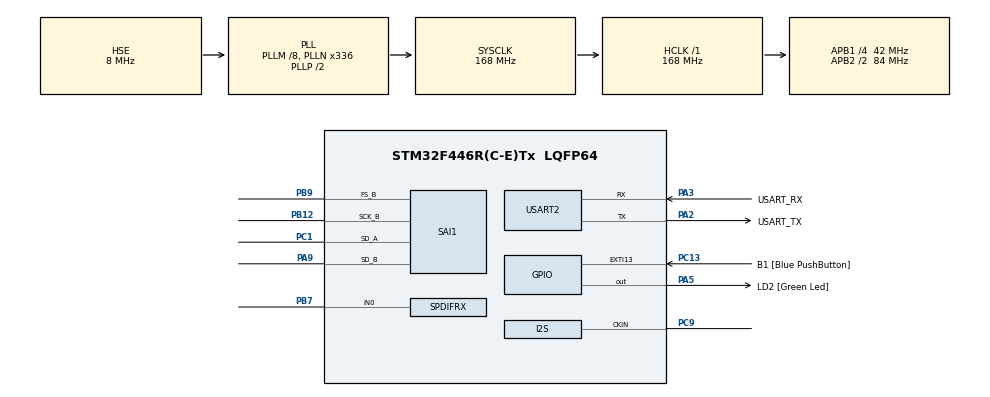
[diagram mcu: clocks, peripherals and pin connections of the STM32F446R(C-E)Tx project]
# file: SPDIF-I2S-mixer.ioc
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Dma.Request0=SPDIF_RX_DT
Dma.Request1=SAI1_B
Dma.Request2=SAI1_A
Dma.SAI1_A.2.Direction=DMA_MEMORY_TO_PERIPH
Dma.SAI1_A.2.FIFOMode=DMA_FIFOMODE_ENABLE
Dma.SAI1_A.2.FIFOThreshold=DMA_FIFO_THRESHOLD_HALFFULL
Dma.SAI1_A.2.Instance=DMA2_Stream1
Dma.SAI1_A.2.MemBurst=DMA_MBURST_SINGLE
Dma.SAI1_A.2.MemDataAlignment=DMA_MDATAALIGN_WORD
Dma.SAI1_A.2.MemInc=DMA_MINC_ENABLE
Dma.SAI1_A.2.Mode=DMA_CIRCULAR
Dma.SAI1_A.2.PeriphBurst=DMA_PBURST_SINGLE
Dma.SAI1_A.2.PeriphDataAlignment=DMA_PDATAALIGN_WORD
Dma.SAI1_A.2.PeriphInc=DMA_PINC_DISABLE
Dma.SAI1_A.2.Priority=DMA_PRIORITY_HIGH
Dma.SAI1_B.1.Direction=DMA_PERIPH_TO_MEMORY
Dma.SAI1_B.1.FIFOMode=DMA_FIFOMODE_DISABLE
Dma.SAI1_B.1.Instance=DMA2_Stream4
Dma.SAI1_B.1.MemDataAlignment=DMA_MDATAALIGN_WORD
Dma.SAI1_B.1.MemInc=DMA_MINC_ENABLE
Dma.SAI1_B.1.Mode=DMA_CIRCULAR
Dma.SAI1_B.1.PeriphDataAlignment=DMA_PDATAALIGN_WORD
Dma.SAI1_B.1.PeriphInc=DMA_PINC_DISABLE
Dma.SAI1_B.1.Priority=DMA_PRIORITY_LOW
Dma.SPDIF_RX_DT.0.Direction=DMA_PERIPH_TO_MEMORY
Dma.SPDIF_RX_DT.0.FIFOMode=DMA_FIFOMODE_DISABLE
Dma.SPDIF_RX_DT.0.Instance=DMA1_Stream1
Dma.SPDIF_RX_DT.0.MemDataAlignment=DMA_MDATAALIGN_WORD
Dma.SPDIF_RX_DT.0.MemInc=DMA_MINC_ENABLE
Dma.SPDIF_RX_DT.0.Mode=DMA_CIRCULAR
Dma.SPDIF_RX_DT.0.PeriphDataAlignment=DMA_PDATAALIGN_WORD
Dma.SPDIF_RX_DT.0.PeriphInc=DMA_PINC_DISABLE
Dma.SPDIF_RX_DT.0.Priority=DMA_PRIORITY_MEDIUM
Mcu.Family=STM32F4
Mcu.Name=STM32F446R(C-E)Tx
Mcu.Package=LQFP64
NVIC.DMA1_Stream1_IRQn=true\:0\:0\:false\:false\:true\:false\:true
NVIC.DMA2_Stream1_IRQn=true\:0\:0\:false\:false\:true\:false\:true
NVIC.DMA2_Stream4_IRQn=true\:0\:0\:false\:false\:true\:false\:true
NVIC.PriorityGroup=NVIC_PRIORITYGROUP_0
NVIC.SAI1_IRQn=true\:0\:0\:false\:false\:true\:true\:true
NVIC.SPDIF_RX_IRQn=true\:0\:0\:false\:false\:true\:true\:true
NVIC.TIM6_DAC_IRQn=true\:0\:0\:false\:false\:true\:true\:true
PA13.GPIO_Label=TMS
PA13.Mode=Serial_Wire
PA13.Signal=SYS_JTMS-SWDIO
PA14.GPIO_Label=TCK
PA14.Mode=Serial_Wire
PA14.Signal=SYS_JTCK-SWCLK
PA2.GPIO_Label=USART_TX
PA2.Mode=Asynchronous
PA2.Signal=USART2_TX
PA3.GPIO_Label=USART_RX
PA3.Mode=Asynchronous
PA3.Signal=USART2_RX
PA5.GPIO_Label=LD2 [Green Led]
PA5.Signal=GPIO_Output
PA9.Mode=SAI_B_AsyncSlave
PA9.Signal=SAI1_SD_B
PB12.Mode=SAI_B_AsyncSlave
PB12.Signal=SAI1_SCK_B
PB3.GPIO_Label=SWO
PB3.Signal=SYS_JTDO-SWO
PB7.Mode=IN0
PB7.Signal=SPDIFRX_IN0
PB9.Mode=SAI_B_AsyncSlave
PB9.Signal=SAI1_FS_B
PC1.Mode=SAI_A_SPDIF
PC1.Signal=SAI1_SD_A
PC13.GPIO_Label=B1 [Blue PushButton]
PC13.GPIO_ModeDefaultEXTI=GPIO_MODE_IT_FALLING
PC13.Signal=GPXTI13
PC14-OSC32_IN.Mode=LSE-External-Oscillator
PC14-OSC32_IN.Signal=RCC_OSC32_IN
PC15-OSC32_OUT.Mode=LSE-External-Oscillator
PC15-OSC32_OUT.Signal=RCC_OSC32_OUT
PC9.Mode=Audio_ClockIn
PC9.Signal=I2S_CKIN
PH0-OSC_IN.Mode=HSE-External-Oscillator
PH0-OSC_IN.Signal=RCC_OSC_IN
PH1-OSC_OUT.Mode=HSE-External-Oscillator
PH1-OSC_OUT.Signal=RCC_OSC_OUT
ProjectManager.HeapSize=0x200
ProjectManager.StackSize=0x400
ProjectManager.TargetToolchain=STM32CubeIDE
RCC.48MHZClocksFreq_Value=84000000
RCC.AHBFreq_Value=168000000
RCC.APB1CLKDivider=RCC_HCLK_DIV4
RCC.APB1Freq_Value=42000000
RCC.APB1TimFreq_Value=84000000
RCC.APB2CLKDivider=RCC_HCLK_DIV2
RCC.APB2Freq_Value=84000000
RCC.APB2TimFreq_Value=168000000
RCC.CortexFreq_Value=168000000
RCC.EXTERNAL_CLOCK_VALUE=12288000
RCC.FLatency-AdvancedSettings=FLASH_LATENCY_5
RCC.HCLKFreq_Value=168000000
RCC.HSE_VALUE=8000000
RCC.HSI_VALUE=16000000
RCC.PLLI2SM=8
RCC.PLLM=8
RCC.PLLN=336
RCC.PLLSAIM=5
RCC.PLLSAIN=96
RCC.PLLSAIQ=5
RCC.PLLSAIQDiv=5
RCC.PLLSourceVirtual=RCC_PLLSOURCE_HSE
RCC.SYSCLKFreq_VALUE=168000000
RCC.SYSCLKSource=RCC_SYSCLKSOURCE_PLLCLK
RCC.USBFreq_Value=168000000
RCC.VCOOutputFreq_Value=336000000
SAI1.AudioFrequency-SAI_A_SPDIF=SAI_AUDIO_FREQUENCY_96K
SAI1.BasicDataSize-SAI_B_AsyncSlave=SAI_PROTOCOL_DATASIZE_32BIT
SAI1.BasicProtocol-SAI_B_AsyncSlave=SAI_I2S_STANDARD
SAI1.FIFOThreshold-SAI_A_SPDIF=SAI_FIFOTHRESHOLD_FULL
SAI1.InitProtocol-SAI_B_AsyncSlave=Enable
SAI1.Instance-SAI_A_SPDIF=SAI$Index_Block_A
SAI1.Instance-SAI_B_AsyncSlave=SAI$Index_Block_B
SAI1.RealAudioFreq-SAI_A_SPDIF=383.928 KHz
SAI1.VirtualMode-SAI_A_SPDIF=VM_SPDIF
SAI1.VirtualMode-SAI_B_AsyncSlave=VM_SLAVE
SAI1.VirtualProtocol-SAI_B_BASIC=VM_BASIC_PROTOCOL
SPDIFRX.DataFormat=SPDIFRX_DATAFORMAT_LSB
SPDIFRX.Retries=SPDIFRX_MAXRETRIES_NONE
SPDIFRX.StereoMode=SPDIFRX_STEREOMODE_ENABLE
SPDIFRX.WaitForActivity=SPDIFRX_WAITFORACTIVITY_ON
TIM6.Period=5000-1
TIM6.Prescaler=8400-1
USART2.VirtualMode=VM_ASYNC
VP_SAI1_VP_$IpInstance_SAIB_SAI_BASIC.Mode=SAI_B_BASIC
VP_TIM6_VS_ClockSourceINT.Mode=Enable_Timer
board=NUCLEO-F446RE

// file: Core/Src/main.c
/* USER CODE BEGIN Header */
/**
  ******************************************************************************
  * @file           : main.c
  * @brief          : Main program body
  ******************************************************************************
  * @attention
  *
  * Copyright (c) 2020 STMicroelectronics.
  * Copyright (c) 2020 fzawa5 (https://twitter.com/fzawa5).
  * All rights reserved.
  *
  * This software component is licensed by ST and fzawa5 under BSD 3-Clause license,
  * the "License"; You may not use this file except in compliance with the
  * License. You may obtain a copy of the License at:
  *                        opensource.org/licenses/BSD-3-Clause
  *
  ******************************************************************************
  */
/* USER CODE END Header */
#include "main.h"

/* USER CODE BEGIN Includes */
#include <stdio.h>
#include <string.h>
#include <stdbool.h>
#include <limits.h>
/* USER CODE END Includes */

/* USER CODE BEGIN PD */

// amount of SPDIF sub-frame per block
#define SPDIF_SUBFRAMES_PER_BLOCK  (192 * 2)

// sub-frame transfer unit (multiple of SPDIF_SUBFRAMES_PER_BLOCK)
#define TRANSFER_UNIT  SPDIF_SUBFRAMES_PER_BLOCK

// debug macros
#ifdef DEBUG
#define debug_printf(fmt, ...)  printf((fmt), ## __VA_ARGS__)
#define debug_puts(str)      puts(str)
#else /* DEBUG */
#define debug_printf(fmt, ...)
#define debug_puts(str)
#endif /* DEBUG */

/* USER CODE END PD */

SAI_HandleTypeDef hsai_BlockA1;
SAI_HandleTypeDef hsai_BlockB1;
DMA_HandleTypeDef hdma_sai1_b;
DMA_HandleTypeDef hdma_sai1_a;

SPDIFRX_HandleTypeDef hspdif;
DMA_HandleTypeDef hdma_spdif_rx_dt;

TIM_HandleTypeDef htim6;

UART_HandleTypeDef huart2;

/* USER CODE BEGIN PV */

// SPDIF & I2S RX context
struct {
  uint32_t buf[2][TRANSFER_UNIT];
  const uint32_t *readable_buf;
  size_t seq_num;
  bool active;
} spdif_rx = { {{0}}, NULL, 0, false }, i2s_rx = { {{0}}, NULL, 0, false };

// SPDIF TX context
struct {
  uint32_t buf[2][TRANSFER_UNIT];
  uint32_t *writable_buf;
  size_t seq_num;
} spdif_tx = { {{0}}, NULL, 0 };

/* USER CODE END PV */

void SystemClock_Config(void);
static void MX_GPIO_Init(void);
static void MX_DMA_Init(void);
static void MX_USART2_UART_Init(void);
static void MX_SAI1_Init(void);
static void MX_SPDIFRX_Init(void);
static void MX_TIM6_Init(void);

/* USER CODE BEGIN 0 */

/*
 * SPDIF RX: DMA half completed
 */
void HAL_SPDIFRX_RxHalfCpltCallback(SPDIFRX_HandleTypeDef *ctx)
{
  // buf[0] is ready for read
  spdif_rx.readable_buf = spdif_rx.buf[0];
  spdif_rx.seq_num++;
}

/*
 * SPDIF RX: DMA full completed
 */
void HAL_SPDIFRX_RxCpltCallback(SPDIFRX_HandleTypeDef *ctx)
{
  // buf[1] is ready for read
  spdif_rx.readable_buf = spdif_rx.buf[1];
  spdif_rx.seq_num++;
}

#ifdef DEBUG
void HAL_SPDIFRX_ErrorCallback(SPDIFRX_HandleTypeDef *ctx)
{
  printf("SPDIF RX: error occurred (%lu)\r\n", HAL_SPDIFRX_GetError(ctx));
}
#endif /* DEBUG */

/*
 * I2S RX: DMA half completed
 */
void HAL_SAI_RxHalfCpltCallback(SAI_HandleTypeDef *ctx)
{
  // buf[0] is ready for read
  i2s_rx.readable_buf = i2s_rx.buf[0];
  i2s_rx.seq_num++;
}

/*
 * I2S RX: DMA full completed
 */
void HAL_SAI_RxCpltCallback(SAI_HandleTypeDef *ctx)
{
  // buf[1] is ready for read
  i2s_rx.readable_buf = i2s_rx.buf[1];
  i2s_rx.seq_num++;
}

/*
 * SPDIF TX: DMA half completed
 */
void HAL_SAI_TxHalfCpltCallback(SAI_HandleTypeDef *ctx)
{
  // buf[0] is ready for write
  spdif_tx.writable_buf = spdif_tx.buf[0];
  spdif_tx.seq_num++;
}

/*
 * SPDIF TX: DMA full completed
 */
void HAL_SAI_TxCpltCallback(SAI_HandleTypeDef *ctx)
{
  // buf[1] is ready for write
  spdif_tx.writable_buf = spdif_tx.buf[1];
  spdif_tx.seq_num++;
}

#ifdef DEBUG
void HAL_SAI_ErrorCallback(SAI_HandleTypeDef *ctx)
{
  if (ctx == &hsai_BlockA1) {
    printf("SPDIF TX: error occurred (%lu)\r\n", HAL_SAI_GetError(ctx));
  } else {
    printf("I2S RX: error occurred (%lu)\r\n", HAL_SAI_GetError(ctx));
  }
}
#endif /* DEBUG */

/*
 * check SPDIF & I2S RX activity periodically
 */
void HAL_TIM_PeriodElapsedCallback(TIM_HandleTypeDef *htim)
{
  static size_t spdif_rx_prev_seq_num = 0, i2s_rx_prev_seq_num = 0;
  size_t __spdif_rx_seq_num, __i2s_rx_seq_num;

  // check SPDIF RX activity
  if (spdif_rx.active) {
    __spdif_rx_seq_num = spdif_rx.seq_num;
    if (__spdif_rx_seq_num == spdif_rx_prev_seq_num) {
      __HAL_SPDIFRX_CLEAR_IT(&hspdif, SPDIFRX_SR_SYNCD);
      spdif_rx.active = false;
    } else {
      spdif_rx_prev_seq_num = __spdif_rx_seq_num;
    }
  } else {
    if (__HAL_SPDIFRX_GET_FLAG(&hspdif, SPDIFRX_FLAG_SYNCD)) {
      spdif_rx.active = true;
    }
  }

  // check I2S RX activity
  __i2s_rx_seq_num = i2s_rx.seq_num;
  if (__i2s_rx_seq_num == i2s_rx_prev_seq_num) {
    i2s_rx.active = false;
  } else {
    i2s_rx_prev_seq_num = __i2s_rx_seq_num;
    i2s_rx.active = true;
  }
}
/* USER CODE END 0 */

int main(void)
{
  /* USER CODE BEGIN 1 */
  bool spdif_rx_prev_active = false, i2s_rx_prev_active = false;
  size_t spdif_tx_prev_seq_num = 0, spdif_rx_prev_seq_num = 0, i2s_rx_prev_seq_num = 0;
  size_t i;
  /* USER CODE END 1 */

  /* MCU Configuration--------------------------------------------------------*/

  /* Reset of all peripherals, Initializes the Flash interface and the Systick. */
  HAL_Init();

  /* Configure the system clock */
  SystemClock_Config();

  /* Initialize all configured peripherals */
  MX_GPIO_Init();
  MX_DMA_Init();
  MX_USART2_UART_Init();
  MX_SAI1_Init();
  MX_SPDIFRX_Init();
  MX_TIM6_Init();
  /* USER CODE BEGIN 2 */

  puts("\r\nSPDIF & I2S Mixer Launched\r");
  debug_puts("debug mode enabled\r");

  // SPDIF RX: begin synchronization
  __HAL_SPDIFRX_SYNC(&hspdif);

  // I2S RX: begin DMA
  HAL_SAI_Receive_DMA(&hsai_BlockB1, (uint8_t *) i2s_rx.buf, sizeof(i2s_rx.buf) / sizeof(i2s_rx.buf[0][0]));
  debug_puts("I2S RX: DMA started\r");

  // SPDIF TX: begin DMA
  HAL_SAI_Transmit_DMA(&hsai_BlockA1, (uint8_t *) spdif_tx.buf, sizeof(spdif_tx.buf) / sizeof(spdif_tx.buf[0][0]));
  debug_puts("SPDIF TX: DMA started\r");

  // enable interval timer (HAL_TIM_PeriodElapsedCallback() will be called periodically)
  HAL_TIM_Base_Start_IT(&htim6);

  /* USER CODE END 2 */

  /* Infinite loop */
  /* USER CODE BEGIN WHILE */
  while (1)
  {
    volatile bool __spdif_rx_active, __i2s_rx_active;
    volatile size_t __spdif_tx_seq_num;

    // SPDIF RX: begin DMA when sync is done / begin sync when signal is lost
    __spdif_rx_active = spdif_rx.active;
    if (__spdif_rx_active != spdif_rx_prev_active) {
      if (__spdif_rx_active) {
        debug_puts("SPDIF RX: sync done\r");
        HAL_SPDIFRX_ReceiveDataFlow_DMA(&hspdif, spdif_rx.buf[0], sizeof(spdif_rx.buf) / sizeof(spdif_rx.buf[0][0]));
        debug_puts("SPDIF RX: DMA started\r");
      } else {
        debug_puts("SPDIF RX: signal lost\r");
        HAL_DMA_Abort_IT(hspdif.hdmaDrRx);
        __HAL_SPDIFRX_IDLE(&hspdif);
        hspdif.State = HAL_SPDIFRX_STATE_READY;
        __HAL_SPDIFRX_SYNC(&hspdif);
        debug_puts("SPDIF RX: syncing\r");
      }
      spdif_rx_prev_active = __spdif_rx_active;
    }

    // I2S RX: restart DMA when signal is lost
    __i2s_rx_active = i2s_rx.active;
    if (__i2s_rx_active != i2s_rx_prev_active) {
      if (__i2s_rx_active) {
        debug_puts("I2S RX: signal detected\r");
      } else {
        debug_puts("I2S RX: signal lost\r");
        HAL_SAI_DMAStop(&hsai_BlockB1);
        HAL_SAI_Receive_DMA(&hsai_BlockB1, (uint8_t *) i2s_rx.buf, sizeof(i2s_rx.buf) / sizeof(i2s_rx.buf[0][0]));
        debug_puts("I2S RX: DMA started\r");
      }
      i2s_rx_prev_active = __i2s_rx_active;
    }

    // SPDIF TX: write mixed audio samples (SPDIF RX & I2S RX)
    __spdif_tx_seq_num = spdif_tx.seq_num;
    if (__spdif_tx_seq_num != spdif_tx_prev_seq_num) {
      volatile size_t __spdif_rx_seq_num, __i2s_rx_seq_num;
      volatile const uint32_t *__spdif_rx_readable_buf = NULL, *__i2s_rx_readable_buf = NULL;
      volatile uint32_t *__spdif_tx_writable_buf = spdif_tx.writable_buf;

      if (__spdif_tx_seq_num - spdif_tx_prev_seq_num != 1) {
        debug_printf("SPDIF TX: skip %d sequences\r\n", __spdif_tx_seq_num - spdif_tx_prev_seq_num - 1);
      }

      // prepare SPDIF RX data
      __spdif_rx_seq_num = spdif_rx.seq_num;
      if (__spdif_rx_seq_num != spdif_rx_prev_seq_num) {
        if (__spdif_rx_seq_num - spdif_rx_prev_seq_num != 1) {
          debug_printf("I2S RX: skip %d sequences\r\n", __spdif_rx_seq_num - spdif_rx_prev_seq_num - 1);
        }
        __spdif_rx_readable_buf = spdif_rx.readable_buf;
        spdif_rx_prev_seq_num = __spdif_rx_seq_num;
      }

      // prepare I2S RX data
      __i2s_rx_seq_num = i2s_rx.seq_num;
      if (__i2s_rx_seq_num != i2s_rx_prev_seq_num) {
        if (__i2s_rx_seq_num - i2s_rx_prev_seq_num != 1) {
          debug_printf("I2S RX: skip %d sequences\r\n", __i2s_rx_seq_num - i2s_rx_prev_seq_num - 1);
        }
        __i2s_rx_readable_buf = i2s_rx.readable_buf;
        i2s_rx_prev_seq_num = __i2s_rx_seq_num;
      }

      // write SPDIF TX data
      for (i = 0; i < TRANSFER_UNIT; i++) {
        int32_t tx_data = 0;

        // mix SPDIF RX sample (24bit) only if available
        if (__spdif_rx_readable_buf) {
          tx_data = (int32_t) (__spdif_rx_readable_buf[i] << 8);
        }

        // mix I2S RX sample (32bit) only if available
        if (__i2s_rx_readable_buf) {
          int32_t rx_data = __i2s_rx_readable_buf[i];
          if (tx_data >= 0) {
              if (INT_MAX - tx_data <= rx_data) {
                rx_data = INT_MAX - tx_data;
              }
          } else {
              if (INT_MIN - tx_data >= rx_data) {
                rx_data = INT_MIN - tx_data;
              }
          }
          tx_data += rx_data;
        }

        // write mixed sample (24bit)
        __spdif_tx_writable_buf[i] = ((uint32_t) tx_data) >> 8;
      }

      // turn on LED during sending audio samples
      if (__spdif_rx_readable_buf || __i2s_rx_readable_buf) {
          HAL_GPIO_WritePin(LD2_GPIO_Port, LD2_Pin, GPIO_PIN_SET);
      } else {
          HAL_GPIO_WritePin(LD2_GPIO_Port, LD2_Pin, GPIO_PIN_RESET);
      }

      spdif_tx_prev_seq_num = __spdif_tx_seq_num;
    }
    /* USER CODE END WHILE */

  }
}

void SystemClock_Config(void)
{
  RCC_OscInitTypeDef RCC_OscInitStruct = {0};
  RCC_ClkInitTypeDef RCC_ClkInitStruct = {0};
  RCC_PeriphCLKInitTypeDef PeriphClkInitStruct = {0};

  /** Configure the main internal regulator output voltage
  */
  __HAL_RCC_PWR_CLK_ENABLE();
  __HAL_PWR_VOLTAGESCALING_CONFIG(PWR_REGULATOR_VOLTAGE_SCALE1);
  /** Initializes the RCC Oscillators according to the specified parameters
  * in the RCC_OscInitTypeDef structure.
  */
  RCC_OscInitStruct.OscillatorType = RCC_OSCILLATORTYPE_HSE;
  RCC_OscInitStruct.HSEState = RCC_HSE_ON;
  RCC_OscInitStruct.PLL.PLLState = RCC_PLL_ON;
  RCC_OscInitStruct.PLL.PLLSource = RCC_PLLSOURCE_HSE;
  RCC_OscInitStruct.PLL.PLLM = 8;
  RCC_OscInitStruct.PLL.PLLN = 336;
  RCC_OscInitStruct.PLL.PLLP = RCC_PLLP_DIV2;
  RCC_OscInitStruct.PLL.PLLQ = 2;
  RCC_OscInitStruct.PLL.PLLR = 2;
  if (HAL_RCC_OscConfig(&RCC_OscInitStruct) != HAL_OK)
  {
    Error_Handler();
  }
  /** Initializes the CPU, AHB and APB buses clocks
  */
  RCC_ClkInitStruct.ClockType = RCC_CLOCKTYPE_HCLK|RCC_CLOCKTYPE_SYSCLK
                              |RCC_CLOCKTYPE_PCLK1|RCC_CLOCKTYPE_PCLK2;
  RCC_ClkInitStruct.SYSCLKSource = RCC_SYSCLKSOURCE_PLLCLK;
  RCC_ClkInitStruct.AHBCLKDivider = RCC_SYSCLK_DIV1;
  RCC_ClkInitStruct.APB1CLKDivider = RCC_HCLK_DIV4;
  RCC_ClkInitStruct.APB2CLKDivider = RCC_HCLK_DIV2;

  if (HAL_RCC_ClockConfig(&RCC_ClkInitStruct, FLASH_LATENCY_5) != HAL_OK)
  {
    Error_Handler();
  }
  PeriphClkInitStruct.PeriphClockSelection = RCC_PERIPHCLK_SAI1|RCC_PERIPHCLK_SPDIFRX;
  PeriphClkInitStruct.PLLSAI.PLLSAIM = 5;
  PeriphClkInitStruct.PLLSAI.PLLSAIN = 96;
  PeriphClkInitStruct.PLLSAI.PLLSAIQ = 5;
  PeriphClkInitStruct.PLLSAI.PLLSAIP = RCC_PLLSAIP_DIV2;
  PeriphClkInitStruct.PLLSAIDivQ = 5;
  PeriphClkInitStruct.SpdifClockSelection = RCC_SPDIFRXCLKSOURCE_PLLR;
  PeriphClkInitStruct.Sai1ClockSelection = RCC_SAI1CLKSOURCE_PLLSAI;
  if (HAL_RCCEx_PeriphCLKConfig(&PeriphClkInitStruct) != HAL_OK)
  {
    Error_Handler();
  }
}

static void MX_SAI1_Init(void)
{

  /* USER CODE BEGIN SAI1_Init 1 */
  hsai_BlockA1.Init.DataSize = SAI_DATASIZE_32;
  hsai_BlockA1.Init.NoDivider = SAI_MASTERDIVIDER_DISABLE;
  /* USER CODE END SAI1_Init 1 */
  hsai_BlockA1.Instance = SAI1_Block_A;
  hsai_BlockA1.Init.Protocol = SAI_SPDIF_PROTOCOL;
  hsai_BlockA1.Init.AudioMode = SAI_MODEMASTER_TX;
  hsai_BlockA1.Init.Synchro = SAI_ASYNCHRONOUS;
  hsai_BlockA1.Init.OutputDrive = SAI_OUTPUTDRIVE_DISABLE;
  hsai_BlockA1.Init.FIFOThreshold = SAI_FIFOTHRESHOLD_FULL;
  hsai_BlockA1.Init.AudioFrequency = SAI_AUDIO_FREQUENCY_96K;
  hsai_BlockA1.Init.SynchroExt = SAI_SYNCEXT_DISABLE;
  hsai_BlockA1.Init.MonoStereoMode = SAI_STEREOMODE;
  hsai_BlockA1.Init.CompandingMode = SAI_NOCOMPANDING;
  if (HAL_SAI_Init(&hsai_BlockA1) != HAL_OK)
  {
    Error_Handler();
  }
  hsai_BlockB1.Instance = SAI1_Block_B;
  hsai_BlockB1.Init.AudioMode = SAI_MODESLAVE_RX;
  hsai_BlockB1.Init.Synchro = SAI_ASYNCHRONOUS;
  hsai_BlockB1.Init.OutputDrive = SAI_OUTPUTDRIVE_DISABLE;
  hsai_BlockB1.Init.FIFOThreshold = SAI_FIFOTHRESHOLD_EMPTY;
  hsai_BlockB1.Init.SynchroExt = SAI_SYNCEXT_DISABLE;
  hsai_BlockB1.Init.MonoStereoMode = SAI_STEREOMODE;
  hsai_BlockB1.Init.CompandingMode = SAI_NOCOMPANDING;
  hsai_BlockB1.Init.TriState = SAI_OUTPUT_NOTRELEASED;
  if (HAL_SAI_InitProtocol(&hsai_BlockB1, SAI_I2S_STANDARD, SAI_PROTOCOL_DATASIZE_32BIT, 2) != HAL_OK)
  {
    Error_Handler();
  }

}

static void MX_SPDIFRX_Init(void)
{

  hspdif.Instance = SPDIFRX;
  hspdif.Init.InputSelection = SPDIFRX_INPUT_IN0;
  hspdif.Init.Retries = SPDIFRX_MAXRETRIES_NONE;
  hspdif.Init.WaitForActivity = SPDIFRX_WAITFORACTIVITY_ON;
  hspdif.Init.ChannelSelection = SPDIFRX_CHANNEL_A;
  hspdif.Init.DataFormat = SPDIFRX_DATAFORMAT_LSB;
  hspdif.Init.StereoMode = SPDIFRX_STEREOMODE_ENABLE;
  hspdif.Init.PreambleTypeMask = SPDIFRX_PREAMBLETYPEMASK_OFF;
  hspdif.Init.ChannelStatusMask = SPDIFRX_CHANNELSTATUS_OFF;
  hspdif.Init.ValidityBitMask = SPDIFRX_VALIDITYMASK_OFF;
  hspdif.Init.ParityErrorMask = SPDIFRX_PARITYERRORMASK_OFF;
  if (HAL_SPDIFRX_Init(&hspdif) != HAL_OK)
  {
    Error_Handler();
  }

}

static void MX_TIM6_Init(void)
{

  TIM_MasterConfigTypeDef sMasterConfig = {0};

  htim6.Instance = TIM6;
  htim6.Init.Prescaler = 8400-1;
  htim6.Init.CounterMode = TIM_COUNTERMODE_UP;
  htim6.Init.Period = 5000-1;
  htim6.Init.AutoReloadPreload = TIM_AUTORELOAD_PRELOAD_DISABLE;
  if (HAL_TIM_Base_Init(&htim6) != HAL_OK)
  {
    Error_Handler();
  }
  sMasterConfig.MasterOutputTrigger = TIM_TRGO_RESET;
  sMasterConfig.MasterSlaveMode = TIM_MASTERSLAVEMODE_DISABLE;
  if (HAL_TIMEx_MasterConfigSynchronization(&htim6, &sMasterConfig) != HAL_OK)
  {
    Error_Handler();
  }

}

static void MX_USART2_UART_Init(void)
{

  huart2.Instance = USART2;
  huart2.Init.BaudRate = 115200;
  huart2.Init.WordLength = UART_WORDLENGTH_8B;
  huart2.Init.StopBits = UART_STOPBITS_1;
  huart2.Init.Parity = UART_PARITY_NONE;
  huart2.Init.Mode = UART_MODE_TX_RX;
  huart2.Init.HwFlowCtl = UART_HWCONTROL_NONE;
  huart2.Init.OverSampling = UART_OVERSAMPLING_16;
  if (HAL_UART_Init(&huart2) != HAL_OK)
  {
    Error_Handler();
  }

}

static void MX_DMA_Init(void)
{

  /* DMA controller clock enable */
  __HAL_RCC_DMA1_CLK_ENABLE();
  __HAL_RCC_DMA2_CLK_ENABLE();

  /* DMA interrupt init */
  /* DMA1_Stream1_IRQn interrupt configuration */
  HAL_NVIC_SetPriority(DMA1_Stream1_IRQn, 0, 0);
  HAL_NVIC_EnableIRQ(DMA1_Stream1_IRQn);
  /* DMA2_Stream1_IRQn interrupt configuration */
  HAL_NVIC_SetPriority(DMA2_Stream1_IRQn, 0, 0);
  HAL_NVIC_EnableIRQ(DMA2_Stream1_IRQn);
  /* DMA2_Stream4_IRQn interrupt configuration */
  HAL_NVIC_SetPriority(DMA2_Stream4_IRQn, 0, 0);
  HAL_NVIC_EnableIRQ(DMA2_Stream4_IRQn);

}

static void MX_GPIO_Init(void)
{
  GPIO_InitTypeDef GPIO_InitStruct = {0};

  /* GPIO Ports Clock Enable */
  __HAL_RCC_GPIOC_CLK_ENABLE();
  __HAL_RCC_GPIOH_CLK_ENABLE();
  __HAL_RCC_GPIOA_CLK_ENABLE();
  __HAL_RCC_GPIOB_CLK_ENABLE();

  /*Configure GPIO pin Output Level */
  HAL_GPIO_WritePin(LD2_GPIO_Port, LD2_Pin, GPIO_PIN_RESET);

  /*Configure GPIO pin : B1_Pin */
  GPIO_InitStruct.Pin = B1_Pin;
  GPIO_InitStruct.Mode = GPIO_MODE_IT_FALLING;
  GPIO_InitStruct.Pull = GPIO_NOPULL;
  HAL_GPIO_Init(B1_GPIO_Port, &GPIO_InitStruct);

  /*Configure GPIO pin : LD2_Pin */
  GPIO_InitStruct.Pin = LD2_Pin;
  GPIO_InitStruct.Mode = GPIO_MODE_OUTPUT_PP;
  GPIO_InitStruct.Pull = GPIO_NOPULL;
  GPIO_InitStruct.Speed = GPIO_SPEED_FREQ_LOW;
  HAL_GPIO_Init(LD2_GPIO_Port, &GPIO_InitStruct);

  /*Configure GPIO pin : PC9 */
  GPIO_InitStruct.Pin = GPIO_PIN_9;
  GPIO_InitStruct.Mode = GPIO_MODE_AF_PP;
  GPIO_InitStruct.Pull = GPIO_NOPULL;
  GPIO_InitStruct.Speed = GPIO_SPEED_FREQ_LOW;
  GPIO_InitStruct.Alternate = GPIO_AF5_SPI1;
  HAL_GPIO_Init(GPIOC, &GPIO_InitStruct);

}

/* USER CODE BEGIN 4 */
int _write(int file, char *ptr, int len)
{
  HAL_UART_Transmit(&huart2, (uint8_t *)ptr, len, 10);
  return len;
}
/* USER CODE END 4 */

void Error_Handler(void)
{
}

/************************ (C) COPYRIGHT STMicroelectronics *****END OF FILE****/
